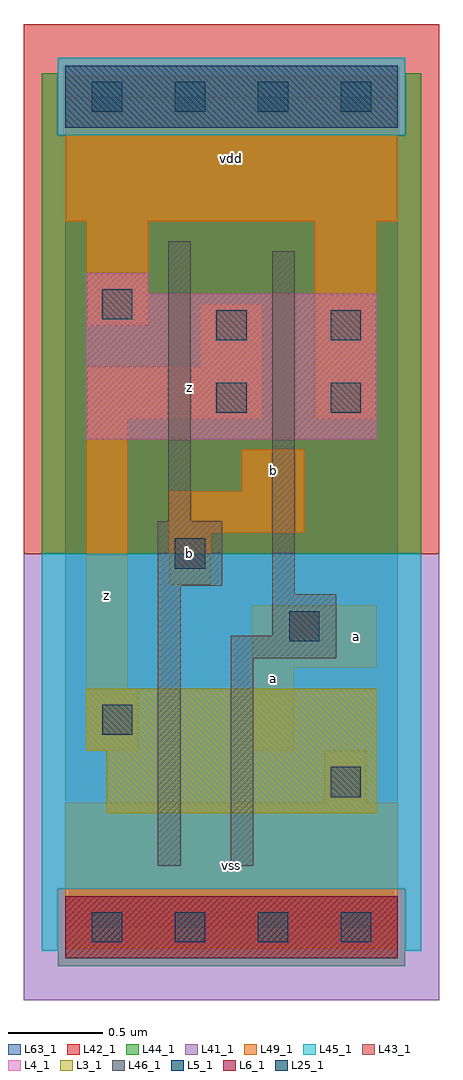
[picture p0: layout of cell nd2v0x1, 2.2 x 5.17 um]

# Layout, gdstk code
import gdstk
lib = gdstk.Library(unit=1e-6, precision=1e-09)
def R(c, l, rs):  # rectangles x0, y0, x1, y1
    for r in rs: c.add(gdstk.rectangle(r[:2], r[2:], *l))
def A(c, l, x, y, w, h, nx, ny, dx, dy):  # array of equal rectangles
    R(c, l, [(x+i*dx, y+j*dy, x+i*dx+w, y+j*dy+h) for i in range(nx) for j in range(ny)])
L3_1 = (3, 1)
L4_1 = (4, 1)
L5_1 = (5, 1)
L6_1 = (6, 1)
L25_1 = (25, 1)
L41_1 = (41, 1)
L42_1 = (42, 1)
L43_1 = (43, 1)
L44_1 = (44, 1)
L45_1 = (45, 1)
L46_1 = (46, 1)
L49_1 = (49, 1)
L63_1 = (63, 1)

nd2v0x1 = lib.new_cell('nd2v0x1')
R(nd2v0x1, L3_1, [(0.22,0.605,1.65,0.935), (0.11,0.935,1.65,1.265)])
R(nd2v0x1, L4_1, [(0.11,2.585,1.65,3.355), (0.11,3.355,0.44,3.465)])
R(nd2v0x1, L5_1, [(0,4.235,1.76,4.565)])
R(nd2v0x1, L6_1, [(0,-0.165,1.76,0.165)])
A(nd2v0x1, L25_1, 0.14, -0.08, 0.16, 0.16, 4, 2, 0.44, 4.4)
R(nd2v0x1, L25_1, [(1.405,0.69,1.565,0.85), (0.195,1.02,0.355,1.18), (1.185,1.515,1.345,1.675), (0.58,1.9,0.74,2.06), (0.8,2.725,0.96,2.885), (1.405,2.725,1.565,2.885), (0.8,3.11,0.96,3.27), (1.405,3.11,1.565,3.27), (0.195,3.22,0.355,3.38)])
R(nd2v0x1, L41_1, [(-0.22,-0.385,1.98,1.98)])
R(nd2v0x1, L42_1, [(-0.22,1.98,1.98,4.785)])
R(nd2v0x1, L43_1, [(0,-0.165,1.76,0.165), (0.22,0.605,1.65,0.935), (0.11,0.935,1.65,1.265), (0.11,2.585,1.65,3.355), (0.11,3.355,0.44,3.465), (0,4.235,1.76,4.565)])
R(nd2v0x1, L44_1, [(-0.04,-0.205,1.8,0.205), (-0.125,1.98,1.885,4.195), (-0.125,4.195,-0.04,4.525), (1.8,4.195,1.885,4.525)])
R(nd2v0x1, L45_1, [(-0.125,-0.125,-0.04,0.205), (1.8,-0.125,1.885,0.205), (-0.125,0.205,1.885,1.98), (-0.04,4.195,1.8,4.605)])
R(nd2v0x1, L46_1, [(0.49,0.325,0.61,1.81), (0.875,0.325,0.995,1.425), (0.875,1.425,1.435,1.545), (1.095,1.545,1.435,1.765), (1.095,1.765,1.215,3.58), (0.49,1.81,0.83,2.15), (0.545,2.15,0.665,3.635)])
R(nd2v0x1, L49_1, [(0,-0.11,1.76,0.66), (1.375,0.66,1.595,0.935), (0.11,0.935,0.385,1.265), (0.99,0.935,1.21,1.375), (0.11,1.265,0.33,2.695), (0.99,1.375,1.65,1.705), (0.55,1.815,0.77,2.09), (0.55,2.09,1.265,2.31), (0.935,2.31,1.265,2.53), (0.11,2.695,1.045,2.97), (1.32,2.695,1.65,3.74), (0.715,2.97,1.045,3.3), (0.11,3.19,0.44,3.74), (0,3.74,1.76,4.51)])
R(nd2v0x1, L63_1, [(0,0,1.76,4.4)])
nd2v0x1.add(gdstk.Label('z', (0.22,1.76), layer=49, texttype=1))
nd2v0x1.add(gdstk.Label('b', (0.66,1.98), layer=49, texttype=1))
nd2v0x1.add(gdstk.Label('z', (0.66,2.86), layer=49, texttype=1))
nd2v0x1.add(gdstk.Label('vss', (0.88,0.33), layer=49, texttype=1))
nd2v0x1.add(gdstk.Label('a', (1.1,1.32), layer=49, texttype=1))
nd2v0x1.add(gdstk.Label('b', (1.1,2.42), layer=49, texttype=1))
nd2v0x1.add(gdstk.Label('vdd', (0.88,4.07), layer=49, texttype=1))
nd2v0x1.add(gdstk.Label('a', (1.54,1.54), layer=49, texttype=1))

lib.write_gds('nd2v0x1.gds')
